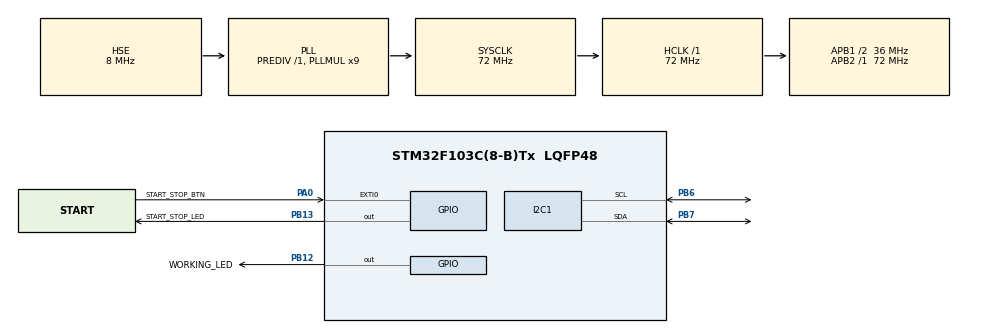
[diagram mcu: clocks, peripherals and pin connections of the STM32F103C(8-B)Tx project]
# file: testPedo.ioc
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Mcu.Family=STM32F1
Mcu.Name=STM32F103C(8-B)Tx
Mcu.Package=LQFP48
NVIC.EXTI0_IRQn=true\:0\:0\:false\:false\:true\:true\:true\:true
NVIC.PriorityGroup=NVIC_PRIORITYGROUP_4
PA0-WKUP.GPIO_Label=START_STOP_BTN
PA0-WKUP.GPIO_ModeDefaultEXTI=GPIO_MODE_IT_FALLING
PA0-WKUP.GPIO_PuPd=GPIO_PULLUP
PA0-WKUP.Signal=GPXTI0
PA13.Mode=Serial_Wire
PA13.Signal=SYS_JTMS-SWDIO
PA14.Mode=Serial_Wire
PA14.Signal=SYS_JTCK-SWCLK
PB12.GPIO_Label=WORKING_LED
PB12.Signal=GPIO_Output
PB13.GPIO_Label=START_STOP_LED
PB13.Signal=GPIO_Output
PB6.Mode=I2C
PB6.Signal=I2C1_SCL
PB7.Mode=I2C
PB7.Signal=I2C1_SDA
PD0-OSC_IN.Mode=HSE-External-Oscillator
PD0-OSC_IN.Signal=RCC_OSC_IN
PD1-OSC_OUT.Mode=HSE-External-Oscillator
PD1-OSC_OUT.Signal=RCC_OSC_OUT
ProjectManager.HeapSize=0x200
ProjectManager.StackSize=0x400
ProjectManager.TargetToolchain=MDK-ARM V5
RCC.AHBFreq_Value=72000000
RCC.APB1CLKDivider=RCC_HCLK_DIV2
RCC.APB1Freq_Value=36000000
RCC.APB1TimFreq_Value=72000000
RCC.APB2Freq_Value=72000000
RCC.APB2TimFreq_Value=72000000
RCC.HCLKFreq_Value=72000000
RCC.PLLMUL=RCC_PLL_MUL9
RCC.PLLSourceVirtual=RCC_PLLSOURCE_HSE
RCC.SYSCLKFreq_VALUE=72000000
RCC.SYSCLKSource=RCC_SYSCLKSOURCE_PLLCLK
RCC.USBFreq_Value=72000000
board=custom

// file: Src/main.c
/* USER CODE BEGIN Header */
/**
  ******************************************************************************
  * @file           : main.c
  * @brief          : Main program body
  ******************************************************************************
  * @attention
  *
  * Copyright (c) 2023 STMicroelectronics.
  * All rights reserved.
  *
  * This software is licensed under terms that can be found in the LICENSE file
  * in the root directory of this software component.
  * If no LICENSE file comes with this software, it is provided AS-IS.
  *
  ******************************************************************************
  */
/* USER CODE END Header */
#include "main.h"

/* USER CODE BEGIN Includes */
#include "i2c-lcd.h"
#include "stdio.h"
#include "math.h"
/* USER CODE END Includes */

I2C_HandleTypeDef hi2c1;

void SystemClock_Config(void);
static void MX_GPIO_Init(void);
static void MX_I2C1_Init(void);

/* USER CODE BEGIN 0 */

#define MPU6050_ADDR 0xD0

#define SMPLRT_DIV_REG 0x19
#define GYRO_CONFIG_REG 0x1B
#define ACCEL_CONFIG_REG 0x1C
#define ACCEL_XOUT_H_REG 0x3B
#define TEMP_OUT_H_REG 0x41
#define GYRO_XOUT_H_REG 0x43
#define PWR_MGMT_1_REG 0x6B
#define WHO_AM_I_REG 0x75

float Ax, Ay, Az;

//int step=0;

//-------------------------------------
float threshold = 6;

float xval[100] = {0};

float yval[100] = {0};

float zval[100] = {0};

float xavg, yavg, zavg;

int steps, flag = 0;

void MPU6050_Init (void)
{
	uint8_t check, data;
	//check device ID WHO_AM_I
	HAL_I2C_Mem_Read(&hi2c1, MPU6050_ADDR, WHO_AM_I_REG, 1, &check, 1, 1000);

	if (check == 104) //if the device is present
	{
		// power management register 0x6B we should write all 0's to wake the sensor up
				data = 0;
				HAL_I2C_Mem_Write(&hi2c1, MPU6050_ADDR, PWR_MGMT_1_REG, 1, &data, 1, 1000);
		// set data rate of 1KHz by writing SMPLRT_DIV register
				data = 0x07;
				HAL_I2C_Mem_Write(&hi2c1, MPU6050_ADDR, SMPLRT_DIV_REG, 1, &data, 1, 1000);
		// set accelerometer configuration in GYRO_CONFIG Register
				data = 0x00;
				HAL_I2C_Mem_Write(&hi2c1, MPU6050_ADDR, ACCEL_CONFIG_REG, 1, &data, 1, 1000);
		// set accelerometer configuration in GYRO_CONFIG Register
				data = 0x00;
				HAL_I2C_Mem_Write(&hi2c1, MPU6050_ADDR, GYRO_CONFIG_REG, 1, &data, 1, 1000);
	}
}

void calibrate()

{

  float sum = 0;

  float sum1 = 0;

  float sum2 = 0;

  for (int i = 0; i < 100; i++) {

    xval[i] = Ax - 345;

    sum += xval[i];

  }

  HAL_Delay(1);

  xavg = sum / 100.0;

  for (int j = 0; j < 100; j++)

  {

    yval[j] = Ay - 346;

    sum1 += yval[j];

  }

  yavg = sum1 / 100.0;

  HAL_Delay(1);

  for (int q = 0; q < 100; q++)

  {

    zval[q] = Az - 416;

    sum2 += zval[q];

  }

  zavg = sum2 / 100.0;

  HAL_Delay(1);

}

void MPU6050_Read_Accel (void)
{
	uint8_t Rec_Data[6];
	// Read 6 BYTES of data starting from ACCEL_XOUT_H register

	HAL_I2C_Mem_Read(&hi2c1, MPU6050_ADDR, ACCEL_XOUT_H_REG, 1, Rec_Data, 6, 1000);

	int16_t Accel_X_RAW = (int16_t)(Rec_Data[0] << 8 | Rec_Data [1]);
	int16_t Accel_Y_RAW = (int16_t)(Rec_Data[2] << 8 | Rec_Data [3]);
	int16_t Accel_Z_RAW = (int16_t)(Rec_Data[4] << 8 | Rec_Data [5]);

	/*** convert the RAW values into acceleration in 'g'
			 we have to divide according to the Full scale value set in FS_SEL
			 I have configured FS_SEL = 0. So I am dividing by 16384.0
			 for more details check ACCEL_CONFIG Register					***/
	Ax = Accel_X_RAW;//16384.0;
	Ay = Accel_Y_RAW;//16384.0;
	Az = Accel_Z_RAW;//16384.0;
}

/* USER CODE END 0 */

int main(void)
{

  /* MCU Configuration--------------------------------------------------------*/

  /* Reset of all peripherals, Initializes the Flash interface and the Systick. */
  HAL_Init();

  /* Configure the system clock */
  SystemClock_Config();

  /* Initialize all configured peripherals */
  MX_GPIO_Init();
  MX_I2C1_Init();
  /* USER CODE BEGIN 2 */
	lcd_init();
	MPU6050_Init();

	lcd_send_string("initialized");

	char chuoi[4];
	HAL_Delay(500);
	lcd_send_cmd(0xC0|0x00);
	sprintf(chuoi,"%d",ACCEL_CONFIG_REG);
	lcd_send_string(chuoi);

	HAL_Delay(1000);
	lcd_clear();

	//calibrate();
  /* USER CODE END 2 */

  /* Infinite loop */
  while (1)
  {

    /* USER CODE BEGIN 3 */

		MPU6050_Read_Accel();

		//-------------------------

  float totvect[100] = {0};

  float totave[100] = {0};

  float xaccl[100] = {0};

  float yaccl[100] = {0};

  float zaccl[100] = {0};

  for (int a = 0; a < 100; a++)

  {

    xaccl[a] = Ax - 345;

    HAL_Delay(1);

    yaccl[a] = Ay - 346;

    HAL_Delay(1);

    zaccl[a] = Az - 416;

    HAL_Delay(1);

    totvect[a] = sqrt(((xaccl[a] - xavg) * (xaccl[a] - xavg)) + ((yaccl[a] - yavg) * (yaccl[a] - yavg)) + ((zval[a] - zavg) * (zval[a] - zavg)));

    totave[a] = (totvect[a] + totvect[a - 1]) / 2000 ;

		HAL_Delay(1);
		if (totave[a] > threshold && flag == 0)
    {
      steps++;

      flag = 1;
    } else if (totave[a] < threshold   && flag == 1)
    {
      flag = 0;
    }

    if (steps < 0)
		{
      steps = 0;
    }

		char buf[5];
		lcd_send_cmd (0x80|0x00);		//goto 1,1
		lcd_send_string("STEPS=");
		sprintf(buf,"%d",steps);
		lcd_send_string(buf);
	}

  }
  /* USER CODE END 3 */
}

void SystemClock_Config(void)
{
  RCC_OscInitTypeDef RCC_OscInitStruct = {0};
  RCC_ClkInitTypeDef RCC_ClkInitStruct = {0};

  /** Initializes the RCC Oscillators according to the specified parameters
  * in the RCC_OscInitTypeDef structure.
  */
  RCC_OscInitStruct.OscillatorType = RCC_OSCILLATORTYPE_HSE;
  RCC_OscInitStruct.HSEState = RCC_HSE_ON;
  RCC_OscInitStruct.HSEPredivValue = RCC_HSE_PREDIV_DIV1;
  RCC_OscInitStruct.HSIState = RCC_HSI_ON;
  RCC_OscInitStruct.PLL.PLLState = RCC_PLL_ON;
  RCC_OscInitStruct.PLL.PLLSource = RCC_PLLSOURCE_HSE;
  RCC_OscInitStruct.PLL.PLLMUL = RCC_PLL_MUL9;
  if (HAL_RCC_OscConfig(&RCC_OscInitStruct) != HAL_OK)
  {
    Error_Handler();
  }

  /** Initializes the CPU, AHB and APB buses clocks
  */
  RCC_ClkInitStruct.ClockType = RCC_CLOCKTYPE_HCLK|RCC_CLOCKTYPE_SYSCLK
                              |RCC_CLOCKTYPE_PCLK1|RCC_CLOCKTYPE_PCLK2;
  RCC_ClkInitStruct.SYSCLKSource = RCC_SYSCLKSOURCE_PLLCLK;
  RCC_ClkInitStruct.AHBCLKDivider = RCC_SYSCLK_DIV1;
  RCC_ClkInitStruct.APB1CLKDivider = RCC_HCLK_DIV2;
  RCC_ClkInitStruct.APB2CLKDivider = RCC_HCLK_DIV1;

  if (HAL_RCC_ClockConfig(&RCC_ClkInitStruct, FLASH_LATENCY_2) != HAL_OK)
  {
    Error_Handler();
  }
}

static void MX_I2C1_Init(void)
{

  hi2c1.Instance = I2C1;
  hi2c1.Init.ClockSpeed = 100000;
  hi2c1.Init.DutyCycle = I2C_DUTYCYCLE_2;
  hi2c1.Init.OwnAddress1 = 0;
  hi2c1.Init.AddressingMode = I2C_ADDRESSINGMODE_7BIT;
  hi2c1.Init.DualAddressMode = I2C_DUALADDRESS_DISABLE;
  hi2c1.Init.OwnAddress2 = 0;
  hi2c1.Init.GeneralCallMode = I2C_GENERALCALL_DISABLE;
  hi2c1.Init.NoStretchMode = I2C_NOSTRETCH_DISABLE;
  if (HAL_I2C_Init(&hi2c1) != HAL_OK)
  {
    Error_Handler();
  }

}

static void MX_GPIO_Init(void)
{

  /* GPIO Ports Clock Enable */
  __HAL_RCC_GPIOD_CLK_ENABLE();
  __HAL_RCC_GPIOA_CLK_ENABLE();
  __HAL_RCC_GPIOB_CLK_ENABLE();

}

void Error_Handler(void)
{
  __disable_irq();
  while (1)
  {
  }
}
